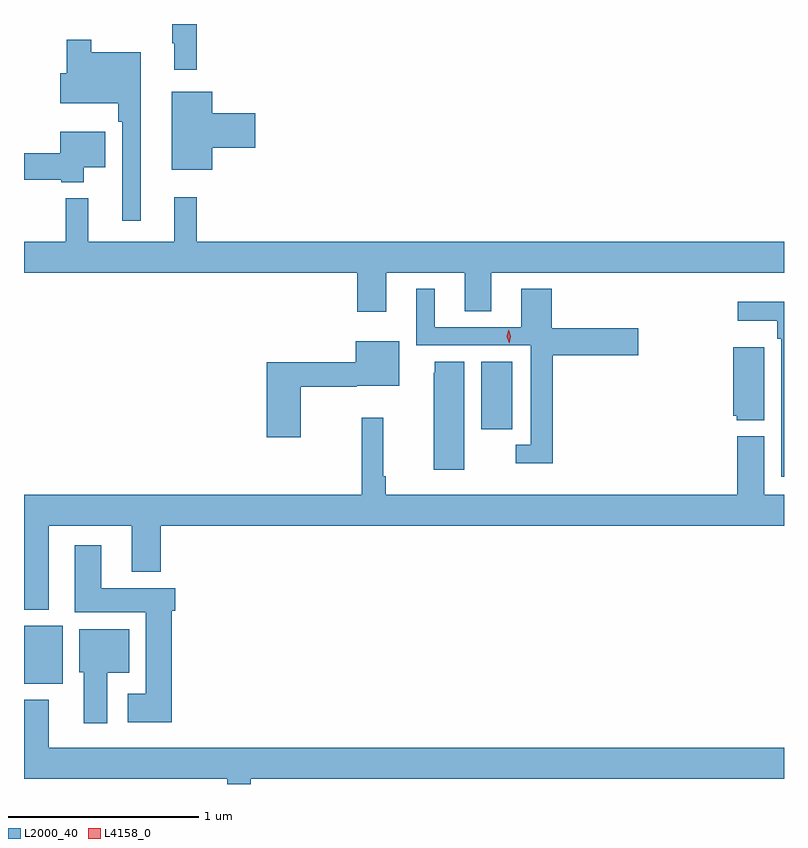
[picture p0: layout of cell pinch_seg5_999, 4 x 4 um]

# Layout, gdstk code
import gdstk
lib = gdstk.Library(unit=1e-6, precision=1e-09)
def R(c, l, rs):  # rectangles x0, y0, x1, y1
    for r in rs: c.add(gdstk.rectangle(r[:2], r[2:], *l))
def P(c, l, *ps):  # polygons
    for p in ps: c.add(gdstk.Polygon(p, *l))
L2000_40 = (2000, 40)
L4158_0 = (4158, 0)

pinch_seg5_999 = lib.new_cell('pinch_seg5_999')
R(pinch_seg5_999, L2000_40, [(723.938,838.613,724.141,838.918), (726.344,839.952,726.508,840.308)])
P(pinch_seg5_999, L2000_40, [(724.847,842.085),(724.719,842.085),(724.719,841.985),(724.73,841.985),(724.73,841.845),(724.847,841.845)],
  [(724.552,841.936),(724.291,841.936),(724.291,842.002),(724.162,842.002),(724.162,841.825),(724.128,841.825),(724.128,841.667),(724.435,841.667),(724.435,841.571),(724.455,841.571),(724.455,841.05),(724.552,841.05)],
  [(724.93,841.433),(725.155,841.433),(725.155,841.616),(724.93,841.616),(724.93,841.729),(724.715,841.729),(724.715,841.319),(724.93,841.319)],
  [(724.252,841.331),(724.366,841.331),(724.366,841.519),(724.13,841.519),(724.13,841.406),(723.938,841.406),(723.938,841.264),(724.134,841.264),(724.134,841.253),(724.252,841.253)],
  [(724.847,841.174),(724.73,841.174),(724.73,840.94),(724.277,840.94),(724.277,841.168),(724.159,841.168),(724.159,840.94),(723.938,840.94),(723.938,840.776),(725.693,840.776),(725.693,840.57),(725.845,840.57),(725.845,840.776),(726.257,840.776),(726.257,840.574),(726.397,840.574),(726.397,840.776),(727.938,840.776),(727.938,840.94),(724.847,840.94)],
  [(726.722,840.341),(727.171,840.341),(727.171,840.483),(726.716,840.483),(726.716,840.691),(726.554,840.691),(726.554,840.489),(726.1,840.489),(726.1,840.691),(726.002,840.691),(726.002,840.393),(726.606,840.393),(726.606,839.871),(726.525,839.871),(726.525,839.774),(726.722,839.774)],
  [(727.938,840.622),(727.695,840.622),(727.695,840.524),(727.903,840.524),(727.903,840.428),(727.923,840.428),(727.923,839.702),(727.938,839.702)],
  [(725.394,840.175),(725.688,840.175),(725.688,840.182),(725.914,840.182),(725.914,840.415),(725.684,840.415),(725.684,840.304),(725.216,840.304),(725.216,839.91),(725.394,839.91)],
  [(727.834,840.385),(727.67,840.385),(727.67,840.024),(727.689,840.024),(727.689,839.999),(727.834,839.999)],
  [(726.256,840.308),(726.101,840.308),(726.101,840.249),(726.095,840.249),(726.095,839.739),(726.256,839.739)],
  [(724.069,839.444),(724.505,839.444),(724.505,839.201),(724.658,839.201),(724.658,839.444),(727.938,839.444),(727.938,839.608),(727.834,839.608),(727.834,839.914),(727.691,839.914),(727.691,839.608),(725.843,839.608),(725.843,839.704),(725.828,839.704),(725.828,840.013),(725.715,840.013),(725.715,839.608),(723.938,839.608),(723.938,839.003),(724.069,839.003)],
  [(724.715,838.998),(724.733,838.998),(724.733,839.116),(724.345,839.116),(724.345,839.341),(724.205,839.341),(724.205,838.988),(724.58,838.988),(724.58,838.561),(724.485,838.561),(724.485,838.409),(724.715,838.409)],
  [(724.375,838.67),(724.492,838.67),(724.492,838.9),(724.229,838.9),(724.229,838.674),(724.253,838.674),(724.253,838.404),(724.375,838.404)],
  [(725.131,838.112),(727.938,838.112),(727.938,838.276),(724.069,838.276),(724.069,838.528),(723.938,838.528),(723.938,838.112),(725.009,838.112),(725.009,838.085),(725.131,838.085)])
P(pinch_seg5_999, L4158_0, [(726.492,840.405),(726.492,840.405),(726.48,840.441),(726.488,840.477),(726.489,840.477),(726.489,840.477),(726.5,840.442),(726.492,840.405)])

lib.write_gds('pinch_seg5_999.gds')
